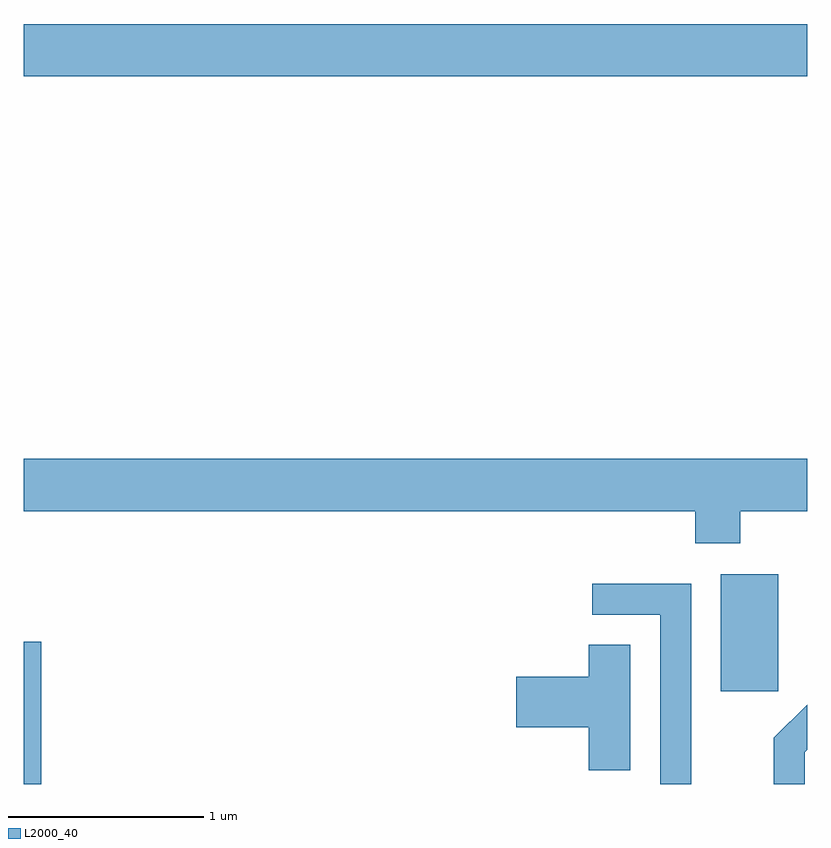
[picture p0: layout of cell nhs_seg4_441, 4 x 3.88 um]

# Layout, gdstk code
import gdstk
lib = gdstk.Library(unit=1e-6, precision=1e-09)
def R(c, l, rs):  # rectangles x0, y0, x1, y1
    for r in rs: c.add(gdstk.rectangle(r[:2], r[2:], *l))
def P(c, l, *ps):  # polygons
    for p in ps: c.add(gdstk.Polygon(p, *l))
L2000_40 = (2000, 40)

nhs_seg4_441 = lib.new_cell('nhs_seg4_441')
R(nhs_seg4_441, L2000_40, [(197.611,1319.982,197.699,1320.709), (201.171,1320.456,201.464,1321.054), (197.611,1323.596,201.611,1323.864)])
P(nhs_seg4_441, L2000_40, [(201.269,1321.376),(201.611,1321.376),(201.611,1321.644),(197.611,1321.644),(197.611,1321.376),(201.041,1321.376),(201.041,1321.211),(201.269,1321.211)],
  [(201.019,1321.004),(200.513,1321.004),(200.513,1320.846),(200.861,1320.846),(200.861,1319.982),(201.019,1319.982)],
  [(200.709,1320.694),(200.496,1320.694),(200.496,1320.529),(200.126,1320.529),(200.126,1320.271),(200.496,1320.271),(200.496,1320.051),(200.709,1320.051)],
  [(201.599,1320.144),(201.611,1320.156),(201.611,1320.387),(201.441,1320.217),(201.441,1319.982),(201.599,1319.982)])

lib.write_gds('nhs_seg4_441.gds')
